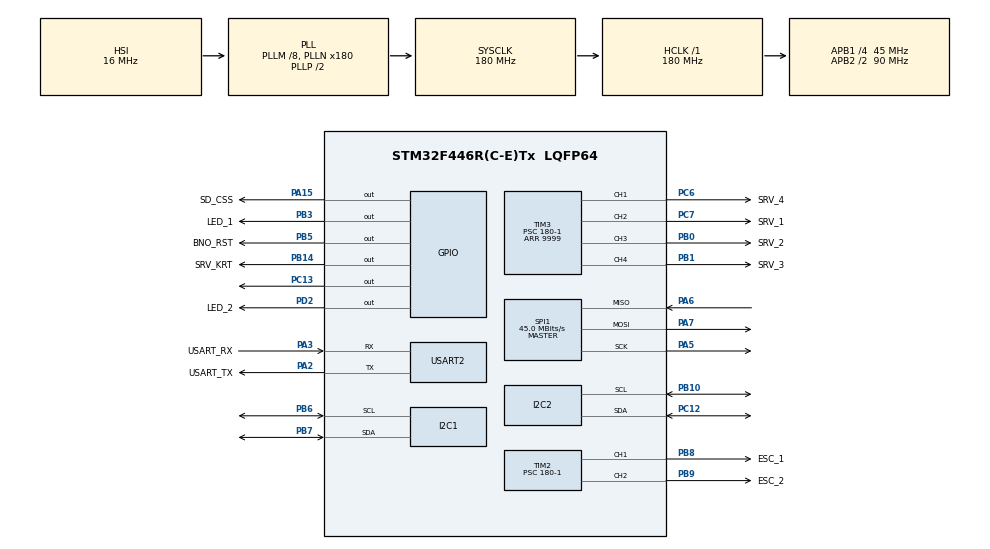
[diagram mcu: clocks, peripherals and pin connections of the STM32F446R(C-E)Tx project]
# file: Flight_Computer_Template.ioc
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FATFS._MAX_SS=4096
Mcu.Family=STM32F4
Mcu.Name=STM32F446R(C-E)Tx
Mcu.Package=LQFP64
NVIC.PriorityGroup=NVIC_PRIORITYGROUP_4
NVIC.TIM1_UP_TIM10_IRQn=true\:15\:0\:false\:false\:true\:false\:true\:true
NVIC.TimeBase=TIM1_UP_TIM10_IRQn
NVIC.TimeBaseIP=TIM1
NVIC.USART2_IRQn=true\:0\:0\:false\:false\:true\:true\:true\:true
PA13.GPIO_Label=TMS
PA13.Mode=Serial_Wire
PA13.Signal=SYS_JTMS-SWDIO
PA14.GPIO_Label=TCK
PA14.Mode=Serial_Wire
PA14.Signal=SYS_JTCK-SWCLK
PA15.GPIO_Label=SD_CSS
PA15.Signal=GPIO_Output
PA2.GPIO_Label=USART_TX
PA2.Mode=Asynchronous
PA2.Signal=USART2_TX
PA3.GPIO_Label=USART_RX
PA3.Mode=Asynchronous
PA3.Signal=USART2_RX
PA5.Mode=Full_Duplex_Master
PA5.Signal=SPI1_SCK
PA6.Mode=Full_Duplex_Master
PA6.Signal=SPI1_MISO
PA7.Mode=Full_Duplex_Master
PA7.Signal=SPI1_MOSI
PB0.GPIO_Label=SRV_2
PB0.Signal=S_TIM3_CH3
PB1.GPIO_Label=SRV_3
PB1.Signal=S_TIM3_CH4
PB10.Mode=I2C
PB10.Signal=I2C2_SCL
PB14.GPIO_Label=SRV_KRT
PB14.Signal=GPIO_Output
PB3.GPIO_Label=LED_1
PB3.Signal=GPIO_Output
PB5.GPIO_Label=BNO_RST
PB5.Signal=GPIO_Output
PB6.Mode=I2C
PB6.Signal=I2C1_SCL
PB7.Mode=I2C
PB7.Signal=I2C1_SDA
PB8.GPIO_Label=ESC_1
PB8.Signal=S_TIM2_CH1_ETR
PB9.GPIO_Label=ESC_2
PB9.Signal=S_TIM2_CH2
PC12.Mode=I2C
PC12.Signal=I2C2_SDA
PC13.Signal=GPIO_Output
PC14-OSC32_IN.GPIO_Label=LED_3
PC14-OSC32_IN.Mode=LSE-External-Oscillator
PC14-OSC32_IN.Signal=RCC_OSC32_IN
PC15-OSC32_OUT.Mode=LSE-External-Oscillator
PC15-OSC32_OUT.Signal=RCC_OSC32_OUT
PC6.GPIO_Label=SRV_4
PC6.Signal=S_TIM3_CH1
PC7.GPIO_Label=SRV_1
PC7.Signal=S_TIM3_CH2
PD2.GPIO_Label=LED_2
PD2.Signal=GPIO_Output
PH0-OSC_IN.Mode=HSE-External-Oscillator
PH0-OSC_IN.Signal=RCC_OSC_IN
PH1-OSC_OUT.Mode=HSE-External-Oscillator
PH1-OSC_OUT.Signal=RCC_OSC_OUT
ProjectManager.HeapSize=0x200
ProjectManager.StackSize=0x400
ProjectManager.TargetToolchain=STM32CubeIDE
RCC.48MHZClocksFreq_Value=84000000
RCC.AHBFreq_Value=180000000
RCC.APB1CLKDivider=RCC_HCLK_DIV4
RCC.APB1Freq_Value=45000000
RCC.APB1TimFreq_Value=90000000
RCC.APB2CLKDivider=RCC_HCLK_DIV2
RCC.APB2Freq_Value=90000000
RCC.APB2TimFreq_Value=180000000
RCC.CortexFreq_Value=180000000
RCC.FLatency-AdvancedSettings=FLASH_LATENCY_5
RCC.HCLKFreq_Value=180000000
RCC.HSE_VALUE=8000000
RCC.HSI_VALUE=16000000
RCC.PLLM=8
RCC.PLLN=180
RCC.SYSCLKFreq_VALUE=180000000
RCC.SYSCLKSource=RCC_SYSCLKSOURCE_PLLCLK
RCC.USBFreq_Value=180000000
RCC.VCOOutputFreq_Value=360000000
SH.S_TIM2_CH1_ETR.0=TIM2_CH1,PWM Generation1 CH1
SH.S_TIM2_CH2.0=TIM2_CH2,PWM Generation2 CH2
SH.S_TIM3_CH1.0=TIM3_CH1,PWM Generation1 CH1
SH.S_TIM3_CH2.0=TIM3_CH2,PWM Generation2 CH2
SH.S_TIM3_CH3.0=TIM3_CH3,PWM Generation3 CH3
SH.S_TIM3_CH4.0=TIM3_CH4,PWM Generation4 CH4
SPI1.CalculateBaudRate=45.0 MBits/s
SPI1.Direction=SPI_DIRECTION_2LINES
SPI1.Mode=SPI_MODE_MASTER
SPI1.VirtualType=VM_MASTER
TIM2.Channel-PWM\ Generation1\ CH1=TIM_CHANNEL_1
TIM2.Channel-PWM\ Generation2\ CH2=TIM_CHANNEL_2
TIM2.Period=9999
TIM2.Prescaler=180-1
TIM3.Channel-PWM\ Generation1\ CH1=TIM_CHANNEL_1
TIM3.Channel-PWM\ Generation2\ CH2=TIM_CHANNEL_2
TIM3.Channel-PWM\ Generation3\ CH3=TIM_CHANNEL_3
TIM3.Channel-PWM\ Generation4\ CH4=TIM_CHANNEL_4
TIM3.Period=9999
TIM3.Prescaler=180-1
USART2.VirtualMode=VM_ASYNC
VP_FATFS_VS_Generic.Mode=User_defined
VP_SYS_VS_tim1.Mode=TIM1
VP_TIM2_VS_ClockSourceINT.Mode=Internal
VP_TIM3_VS_ClockSourceINT.Mode=Internal
board=NUCLEO-F446RE

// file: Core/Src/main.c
/* USER CODE BEGIN Header */
/**
  ******************************************************************************
  * @file           : main.c
  * @brief          : Main program body
  ******************************************************************************
  * @attention
  *
  * Copyright (c) 2024 STMicroelectronics.
  * All rights reserved.
  *
  * This software is licensed under terms that can be found in the LICENSE file
  * in the root directory of this software component.
  * If no LICENSE file comes with this software, it is provided AS-IS.
  *
  ******************************************************************************
  */
/* USER CODE END Header */
#include "main.h"
#include "fatfs.h"

/* USER CODE BEGIN Includes */
#include <stdio.h>
/* USER CODE END Includes */

I2C_HandleTypeDef hi2c1;
I2C_HandleTypeDef hi2c2;

SPI_HandleTypeDef hspi1;

TIM_HandleTypeDef htim2;
TIM_HandleTypeDef htim3;

UART_HandleTypeDef huart2;

void SystemClock_Config(void);
static void MX_GPIO_Init(void);
static void MX_USART2_UART_Init(void);
static void MX_I2C2_Init(void);
static void MX_TIM2_Init(void);
static void MX_I2C1_Init(void);
static void MX_TIM3_Init(void);
static void MX_SPI1_Init(void);

int main(void)
{
  /* USER CODE BEGIN 1 */
    bno055_setup(); //IMU sensorün başlatilmasi
    bno055_setOperationModeNDOF(); //SENSÖR İ�?LEM MODUNUN AYARLANMASI
    ms5611_init(); // basınç sensörünün başlatılması
    float temperature, pressure, altitude;
  /* USER CODE END 1 */

  /* MCU Configuration--------------------------------------------------------*/

  /* Reset of all peripherals, Initializes the Flash interface and the Systick. */
  HAL_Init();

  /* Configure the system clock */
  SystemClock_Config();

  /* Initialize all configured peripherals */
  MX_GPIO_Init();
  MX_USART2_UART_Init();
  MX_I2C2_Init();
  MX_TIM2_Init();
  MX_I2C1_Init();
  MX_TIM3_Init();
  MX_SPI1_Init();
  MX_FATFS_Init();

  /* Infinite loop */
  while (1)
  {

    /* USER CODE BEGIN 3 */
    //IMUDAN ALINAN VERİLERİN OKUNMASI
    bno055_vector_t acceleration = bno055_getVectorAccelerometer(BNO055_VECTOR_ACCELEROMETER);
    bno055_vector_t gyroscope = bno055_getVectorGyroscope(BNO055_VECTOR_GYROSCOPE);
    bno055_vector_t magnetometer = bno055_getVectorMagnetometer(BNO055_VECTOR_MAGNETOMETER);

    /* OKUNAN VERİLERİN ÇIKTILARI
    printf("Acceleration: X=%d, Y=%d, Z=%d\n", acceleration.x, acceleration.y, acceleration.z);
    printf("Gyroscope: X=%d, Y=%d, Z=%d\n", gyroscope.x, gyroscope.y, gyroscope.z);
    printf("Magnetometer: X=%d, Y=%d, Z=%d\n", magnetometer.x, magnetometer.y, magnetometer.z);
    */

    //YATAY HIZIN 0 OLDU�?U ANI KONTROL
    bno055_vector_t velocity= bno055_getVectorAccelerometer(BNO055_ACC_DATA_Y_LSB);
    int16_t vercticalVelocity = velocity.y;
    if (vercticalVelocity == 0){
      //roket düşüşe başlıyor
      break;
    }
    //SICAKLIK BASINC VE İRTİFA DEGERİNİN ALINMASI
    ms5611_getTemperatureAndPressure(&temperature,&pressure,&altitude);
    // ALINAN VERİLERİN EKRANA YAZDIRILMASI
    /*
    printf("Temprature :",temperature);
    printf("Pressure :" ,pressure);
    printf("Altitude",altitude);
    */
    if (altitude >=3000.0){
      printf("ikinci parasüt aciliyor");
    }
    HAL_Delay(1000); //veri okuma sıklıgı
  }
  /* USER CODE END 3 */
}

void SystemClock_Config(void)
{
  RCC_OscInitTypeDef RCC_OscInitStruct = {0};
  RCC_ClkInitTypeDef RCC_ClkInitStruct = {0};

  /** Configure the main internal regulator output voltage
  */
  __HAL_RCC_PWR_CLK_ENABLE();
  __HAL_PWR_VOLTAGESCALING_CONFIG(PWR_REGULATOR_VOLTAGE_SCALE1);

  /** Initializes the RCC Oscillators according to the specified parameters
  * in the RCC_OscInitTypeDef structure.
  */
  RCC_OscInitStruct.OscillatorType = RCC_OSCILLATORTYPE_HSI;
  RCC_OscInitStruct.HSIState = RCC_HSI_ON;
  RCC_OscInitStruct.HSICalibrationValue = RCC_HSICALIBRATION_DEFAULT;
  RCC_OscInitStruct.PLL.PLLState = RCC_PLL_ON;
  RCC_OscInitStruct.PLL.PLLSource = RCC_PLLSOURCE_HSI;
  RCC_OscInitStruct.PLL.PLLM = 8;
  RCC_OscInitStruct.PLL.PLLN = 180;
  RCC_OscInitStruct.PLL.PLLP = RCC_PLLP_DIV2;
  RCC_OscInitStruct.PLL.PLLQ = 2;
  RCC_OscInitStruct.PLL.PLLR = 2;
  if (HAL_RCC_OscConfig(&RCC_OscInitStruct) != HAL_OK)
  {
    Error_Handler();
  }

  /** Activate the Over-Drive mode
  */
  if (HAL_PWREx_EnableOverDrive() != HAL_OK)
  {
    Error_Handler();
  }

  /** Initializes the CPU, AHB and APB buses clocks
  */
  RCC_ClkInitStruct.ClockType = RCC_CLOCKTYPE_HCLK|RCC_CLOCKTYPE_SYSCLK
                              |RCC_CLOCKTYPE_PCLK1|RCC_CLOCKTYPE_PCLK2;
  RCC_ClkInitStruct.SYSCLKSource = RCC_SYSCLKSOURCE_PLLCLK;
  RCC_ClkInitStruct.AHBCLKDivider = RCC_SYSCLK_DIV1;
  RCC_ClkInitStruct.APB1CLKDivider = RCC_HCLK_DIV4;
  RCC_ClkInitStruct.APB2CLKDivider = RCC_HCLK_DIV2;

  if (HAL_RCC_ClockConfig(&RCC_ClkInitStruct, FLASH_LATENCY_5) != HAL_OK)
  {
    Error_Handler();
  }
}

static void MX_I2C1_Init(void)
{

  hi2c1.Instance = I2C1;
  hi2c1.Init.ClockSpeed = 100000;
  hi2c1.Init.DutyCycle = I2C_DUTYCYCLE_2;
  hi2c1.Init.OwnAddress1 = 0;
  hi2c1.Init.AddressingMode = I2C_ADDRESSINGMODE_7BIT;
  hi2c1.Init.DualAddressMode = I2C_DUALADDRESS_DISABLE;
  hi2c1.Init.OwnAddress2 = 0;
  hi2c1.Init.GeneralCallMode = I2C_GENERALCALL_DISABLE;
  hi2c1.Init.NoStretchMode = I2C_NOSTRETCH_DISABLE;
  if (HAL_I2C_Init(&hi2c1) != HAL_OK)
  {
    Error_Handler();
  }

}

static void MX_I2C2_Init(void)
{

  hi2c2.Instance = I2C2;
  hi2c2.Init.ClockSpeed = 100000;
  hi2c2.Init.DutyCycle = I2C_DUTYCYCLE_2;
  hi2c2.Init.OwnAddress1 = 0;
  hi2c2.Init.AddressingMode = I2C_ADDRESSINGMODE_7BIT;
  hi2c2.Init.DualAddressMode = I2C_DUALADDRESS_DISABLE;
  hi2c2.Init.OwnAddress2 = 0;
  hi2c2.Init.GeneralCallMode = I2C_GENERALCALL_DISABLE;
  hi2c2.Init.NoStretchMode = I2C_NOSTRETCH_DISABLE;
  if (HAL_I2C_Init(&hi2c2) != HAL_OK)
  {
    Error_Handler();
  }

}

static void MX_SPI1_Init(void)
{

  /* SPI1 parameter configuration*/
  hspi1.Instance = SPI1;
  hspi1.Init.Mode = SPI_MODE_MASTER;
  hspi1.Init.Direction = SPI_DIRECTION_2LINES;
  hspi1.Init.DataSize = SPI_DATASIZE_8BIT;
  hspi1.Init.CLKPolarity = SPI_POLARITY_LOW;
  hspi1.Init.CLKPhase = SPI_PHASE_1EDGE;
  hspi1.Init.NSS = SPI_NSS_SOFT;
  hspi1.Init.BaudRatePrescaler = SPI_BAUDRATEPRESCALER_2;
  hspi1.Init.FirstBit = SPI_FIRSTBIT_MSB;
  hspi1.Init.TIMode = SPI_TIMODE_DISABLE;
  hspi1.Init.CRCCalculation = SPI_CRCCALCULATION_DISABLE;
  hspi1.Init.CRCPolynomial = 10;
  if (HAL_SPI_Init(&hspi1) != HAL_OK)
  {
    Error_Handler();
  }

}

static void MX_TIM2_Init(void)
{

  TIM_ClockConfigTypeDef sClockSourceConfig = {0};
  TIM_MasterConfigTypeDef sMasterConfig = {0};
  TIM_OC_InitTypeDef sConfigOC = {0};

  htim2.Instance = TIM2;
  htim2.Init.Prescaler = 180-1;
  htim2.Init.CounterMode = TIM_COUNTERMODE_UP;
  htim2.Init.Period = 9999;
  htim2.Init.ClockDivision = TIM_CLOCKDIVISION_DIV1;
  htim2.Init.AutoReloadPreload = TIM_AUTORELOAD_PRELOAD_DISABLE;
  if (HAL_TIM_Base_Init(&htim2) != HAL_OK)
  {
    Error_Handler();
  }
  sClockSourceConfig.ClockSource = TIM_CLOCKSOURCE_INTERNAL;
  if (HAL_TIM_ConfigClockSource(&htim2, &sClockSourceConfig) != HAL_OK)
  {
    Error_Handler();
  }
  if (HAL_TIM_PWM_Init(&htim2) != HAL_OK)
  {
    Error_Handler();
  }
  sMasterConfig.MasterOutputTrigger = TIM_TRGO_RESET;
  sMasterConfig.MasterSlaveMode = TIM_MASTERSLAVEMODE_DISABLE;
  if (HAL_TIMEx_MasterConfigSynchronization(&htim2, &sMasterConfig) != HAL_OK)
  {
    Error_Handler();
  }
  sConfigOC.OCMode = TIM_OCMODE_PWM1;
  sConfigOC.Pulse = 0;
  sConfigOC.OCPolarity = TIM_OCPOLARITY_HIGH;
  sConfigOC.OCFastMode = TIM_OCFAST_DISABLE;
  if (HAL_TIM_PWM_ConfigChannel(&htim2, &sConfigOC, TIM_CHANNEL_1) != HAL_OK)
  {
    Error_Handler();
  }
  if (HAL_TIM_PWM_ConfigChannel(&htim2, &sConfigOC, TIM_CHANNEL_2) != HAL_OK)
  {
    Error_Handler();
  }
  HAL_TIM_MspPostInit(&htim2);

}

static void MX_TIM3_Init(void)
{

  TIM_ClockConfigTypeDef sClockSourceConfig = {0};
  TIM_MasterConfigTypeDef sMasterConfig = {0};
  TIM_OC_InitTypeDef sConfigOC = {0};

  htim3.Instance = TIM3;
  htim3.Init.Prescaler = 180-1;
  htim3.Init.CounterMode = TIM_COUNTERMODE_UP;
  htim3.Init.Period = 9999;
  htim3.Init.ClockDivision = TIM_CLOCKDIVISION_DIV1;
  htim3.Init.AutoReloadPreload = TIM_AUTORELOAD_PRELOAD_DISABLE;
  if (HAL_TIM_Base_Init(&htim3) != HAL_OK)
  {
    Error_Handler();
  }
  sClockSourceConfig.ClockSource = TIM_CLOCKSOURCE_INTERNAL;
  if (HAL_TIM_ConfigClockSource(&htim3, &sClockSourceConfig) != HAL_OK)
  {
    Error_Handler();
  }
  if (HAL_TIM_PWM_Init(&htim3) != HAL_OK)
  {
    Error_Handler();
  }
  sMasterConfig.MasterOutputTrigger = TIM_TRGO_RESET;
  sMasterConfig.MasterSlaveMode = TIM_MASTERSLAVEMODE_DISABLE;
  if (HAL_TIMEx_MasterConfigSynchronization(&htim3, &sMasterConfig) != HAL_OK)
  {
    Error_Handler();
  }
  sConfigOC.OCMode = TIM_OCMODE_PWM1;
  sConfigOC.Pulse = 0;
  sConfigOC.OCPolarity = TIM_OCPOLARITY_HIGH;
  sConfigOC.OCFastMode = TIM_OCFAST_DISABLE;
  if (HAL_TIM_PWM_ConfigChannel(&htim3, &sConfigOC, TIM_CHANNEL_1) != HAL_OK)
  {
    Error_Handler();
  }
  if (HAL_TIM_PWM_ConfigChannel(&htim3, &sConfigOC, TIM_CHANNEL_2) != HAL_OK)
  {
    Error_Handler();
  }
  if (HAL_TIM_PWM_ConfigChannel(&htim3, &sConfigOC, TIM_CHANNEL_3) != HAL_OK)
  {
    Error_Handler();
  }
  if (HAL_TIM_PWM_ConfigChannel(&htim3, &sConfigOC, TIM_CHANNEL_4) != HAL_OK)
  {
    Error_Handler();
  }
  HAL_TIM_MspPostInit(&htim3);

}

static void MX_USART2_UART_Init(void)
{

  huart2.Instance = USART2;
  huart2.Init.BaudRate = 115200;
  huart2.Init.WordLength = UART_WORDLENGTH_8B;
  huart2.Init.StopBits = UART_STOPBITS_1;
  huart2.Init.Parity = UART_PARITY_NONE;
  huart2.Init.Mode = UART_MODE_TX_RX;
  huart2.Init.HwFlowCtl = UART_HWCONTROL_NONE;
  huart2.Init.OverSampling = UART_OVERSAMPLING_16;
  if (HAL_UART_Init(&huart2) != HAL_OK)
  {
    Error_Handler();
  }

}

static void MX_GPIO_Init(void)
{
  GPIO_InitTypeDef GPIO_InitStruct = {0};

  /* GPIO Ports Clock Enable */
  __HAL_RCC_GPIOC_CLK_ENABLE();
  __HAL_RCC_GPIOH_CLK_ENABLE();
  __HAL_RCC_GPIOA_CLK_ENABLE();
  __HAL_RCC_GPIOB_CLK_ENABLE();
  __HAL_RCC_GPIOD_CLK_ENABLE();

  /*Configure GPIO pin Output Level */
  HAL_GPIO_WritePin(GPIOC, GPIO_PIN_13, GPIO_PIN_RESET);

  /*Configure GPIO pin Output Level */
  HAL_GPIO_WritePin(GPIOB, SRV_KRT_Pin|LED_1_Pin|BNO_RST_Pin, GPIO_PIN_RESET);

  /*Configure GPIO pin Output Level */
  HAL_GPIO_WritePin(SD_CSS_GPIO_Port, SD_CSS_Pin, GPIO_PIN_RESET);

  /*Configure GPIO pin Output Level */
  HAL_GPIO_WritePin(LED_2_GPIO_Port, LED_2_Pin, GPIO_PIN_RESET);

  /*Configure GPIO pin : PC13 */
  GPIO_InitStruct.Pin = GPIO_PIN_13;
  GPIO_InitStruct.Mode = GPIO_MODE_OUTPUT_PP;
  GPIO_InitStruct.Pull = GPIO_NOPULL;
  GPIO_InitStruct.Speed = GPIO_SPEED_FREQ_LOW;
  HAL_GPIO_Init(GPIOC, &GPIO_InitStruct);

  /*Configure GPIO pins : SRV_KRT_Pin LED_1_Pin BNO_RST_Pin */
  GPIO_InitStruct.Pin = SRV_KRT_Pin|LED_1_Pin|BNO_RST_Pin;
  GPIO_InitStruct.Mode = GPIO_MODE_OUTPUT_PP;
  GPIO_InitStruct.Pull = GPIO_NOPULL;
  GPIO_InitStruct.Speed = GPIO_SPEED_FREQ_LOW;
  HAL_GPIO_Init(GPIOB, &GPIO_InitStruct);

  /*Configure GPIO pin : SD_CSS_Pin */
  GPIO_InitStruct.Pin = SD_CSS_Pin;
  GPIO_InitStruct.Mode = GPIO_MODE_OUTPUT_PP;
  GPIO_InitStruct.Pull = GPIO_NOPULL;
  GPIO_InitStruct.Speed = GPIO_SPEED_FREQ_LOW;
  HAL_GPIO_Init(SD_CSS_GPIO_Port, &GPIO_InitStruct);

  /*Configure GPIO pin : LED_2_Pin */
  GPIO_InitStruct.Pin = LED_2_Pin;
  GPIO_InitStruct.Mode = GPIO_MODE_OUTPUT_PP;
  GPIO_InitStruct.Pull = GPIO_NOPULL;
  GPIO_InitStruct.Speed = GPIO_SPEED_FREQ_LOW;
  HAL_GPIO_Init(LED_2_GPIO_Port, &GPIO_InitStruct);

}

void HAL_TIM_PeriodElapsedCallback(TIM_HandleTypeDef *htim)
{
  if (htim->Instance == TIM1) {
    HAL_IncTick();
  }
}

void Error_Handler(void)
{
  __disable_irq();
  while (1)
  {
  }
}
